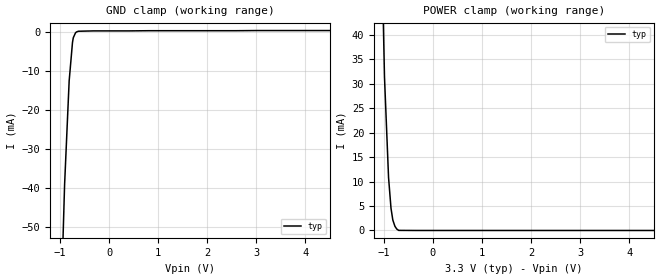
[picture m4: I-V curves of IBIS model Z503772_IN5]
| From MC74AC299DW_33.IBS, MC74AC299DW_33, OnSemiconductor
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| (C) COPYRIGHT 1993-2000
| MENTOR GRAPHICS CORPORATION
| ICX STANDARD LIBRARY, ICX PROJECT MODELING,
| ICX CUSTOM MODELING, ICX VENDOR MODEL
| ALL RIGHTS RESERVED.
| THE FOLLOWING ARE TRADEMARKS OR SERVICE MARKS OF
| MENTOR GRAPHICS CORPORATION:ICX (R), ICX STANDARD
| LIBRARY(R), ICX PROJECT MODELING(R), ICX CUSTOM
| MODELING(R), qualityIBIS(TM), MODELVIEWER(TM),
| AND MODELEDITOR(TM)
| ALL COPIES OF SOFTWARE, INCLUDING BUT NOT LIMITED TO
| ANY MODIFICATIONS, ENHANCEMENTS OR DERIVATIVE WORKS,
| MUST CONTAIN ALL MENTOR GRAPHICS CORPORATION'S
| NOTICES AND LEGENDS, INCLUDING THOSE EMBEDDED IN
| SOFTWARE AND THOSE AFFIXED TO SOFTWARE MEDIUM
| AND CONTAINER, AS RECEIVED FROM MENTOR GRAPHICS
| CORPORATION.
| Model Application Version 1.89 2/18/99.
[Model] Z503772_IN5
Model_type Input
Vinl = 990.0mV
Vinh = 2.310V
C_comp 4.000pF NA NA
| variable typ   min   max
[Voltage Range] 3.300V NA NA
[GND Clamp Reference] 0.000V NA NA
[POWER Clamp Reference] 3.300V NA NA
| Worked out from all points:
|   GND clamp passes 1 mA (typ) near -0.71 V on its own axis
|   POWER clamp passes 1 mA (typ) near -0.78 V on its own axis
[GND Clamp]
-3.3V     -2.083A    NA         NA
-1.045V   -97.96mA   NA         NA
-908.2mV  -39.22mA   NA         NA
-815.4mV  -12.67mA   NA         NA
-747.3mV  -2.771mA   NA         NA
-731mV    -1.578mA   NA         NA
-687mV    -348.9uA   NA         NA
-667.4mV  -102.2uA   NA         NA
-627.3mV  87.61uA    NA         NA
-313.7mV  178.6uA    NA         NA
6.6V      269uA      NA         NA
[POWER Clamp]
-3.3V     1.454A     NA         NA
-1.13V    99.25mA    NA         NA
-987mV    31.45mA    NA         NA
-904mV    10.83mA    NA         NA
-854mV    4.528mA    NA         NA
-817mV    2.136mA    NA         NA
-774mV    852uA      NA         NA
-737mV    298.1uA    NA         NA
-698mV    19.7uA     NA         NA
-349mV    0A         NA         NA
6.6V      0A         NA         NA
